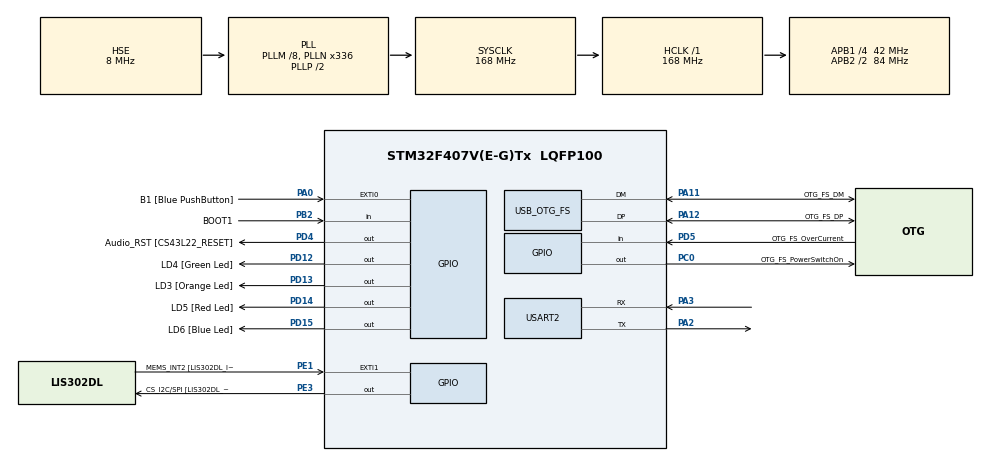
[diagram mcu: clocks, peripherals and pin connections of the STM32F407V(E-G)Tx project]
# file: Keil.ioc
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Mcu.Family=STM32F4
Mcu.Name=STM32F407V(E-G)Tx
Mcu.Package=LQFP100
NVIC.OTG_FS_IRQn=true\:0\:0\:false
NVIC.PriorityGroup=NVIC_PRIORITYGROUP_0
PA0-WKUP.GPIO_Label=B1 [Blue PushButton]
PA0-WKUP.GPIO_ModeDefaultEXTI=GPIO_MODE_EVT_RISING
PA0-WKUP.GPIO_PuPd=GPIO_NOPULL
PA0-WKUP.Signal=GPXTI0
PA10.GPIO_Label=OTG_FS_ID
PA10.GPIO_Mode=GPIO_MODE_AF_PP
PA10.GPIO_PuPd=GPIO_NOPULL
PA10.GPIO_Speed=GPIO_SPEED_LOW
PA10.Signal=USB_OTG_FS_ID
PA11.GPIO_Label=OTG_FS_DM
PA11.GPIO_Mode=GPIO_MODE_AF_PP
PA11.GPIO_PuPd=GPIO_NOPULL
PA11.GPIO_Speed=GPIO_SPEED_LOW
PA11.Mode=Device_Only
PA11.Signal=USB_OTG_FS_DM
PA12.GPIO_Label=OTG_FS_DP
PA12.GPIO_Mode=GPIO_MODE_AF_PP
PA12.GPIO_PuPd=GPIO_NOPULL
PA12.GPIO_Speed=GPIO_SPEED_LOW
PA12.Mode=Device_Only
PA12.Signal=USB_OTG_FS_DP
PA13.GPIO_Label=SWDIO
PA13.Mode=Trace-Asynchronous_SW
PA13.Signal=SYS_JTMS-SWDIO
PA14.GPIO_Label=SWCLK
PA14.Mode=Trace-Asynchronous_SW
PA14.Signal=SYS_JTCK-SWCLK
PA2.Mode=Asynchronous
PA2.Signal=USART2_TX
PA3.Mode=Asynchronous
PA3.Signal=USART2_RX
PA4.GPIO_Label=I2S3_WS [CS43L22_LRCK]
PA4.GPIO_Mode=GPIO_MODE_AF_PP
PA4.GPIO_PuPd=GPIO_NOPULL
PA4.GPIO_Speed=GPIO_SPEED_LOW
PA4.Signal=I2S3_WS
PA5.GPIO_Label=SPI1_SCK [LIS302DL_SCL/SPC]
PA5.GPIO_Mode=GPIO_MODE_AF_PP
PA5.GPIO_PuPd=GPIO_NOPULL
PA5.GPIO_Speed=GPIO_SPEED_LOW
PA5.Signal=SPI1_SCK
PA6.GPIO_Label=SPI1_MISO [LIS302DL_SDO]
PA6.GPIO_Mode=GPIO_MODE_AF_PP
PA6.GPIO_PuPd=GPIO_NOPULL
PA6.GPIO_Speed=GPIO_SPEED_LOW
PA6.Signal=SPI1_MISO
PA7.GPIO_Label=SPI1_MOSI [LIS302DL_SDA/SDI/SDO]
PA7.GPIO_Mode=GPIO_MODE_AF_PP
PA7.GPIO_PuPd=GPIO_NOPULL
PA7.GPIO_Speed=GPIO_SPEED_LOW
PA7.Signal=SPI1_MOSI
PA9.GPIO_Label=VBUS_FS
PA9.GPIO_Mode=GPIO_MODE_INPUT
PA9.GPIO_PuPd=GPIO_NOPULL
PA9.Signal=USB_OTG_FS_VBUS
PB10.GPIO_Label=CLK_IN [MP45DT02_CLK]
PB10.GPIO_Mode=GPIO_MODE_AF_PP
PB10.GPIO_PuPd=GPIO_NOPULL
PB10.GPIO_Speed=GPIO_SPEED_LOW
PB10.Signal=I2S2_CK
PB2.GPIO_Label=BOOT1
PB2.GPIO_Mode=GPIO_MODE_INPUT
PB2.GPIO_PuPd=GPIO_NOPULL
PB2.Signal=GPIO_Input
PB3.GPIO_Label=SWO
PB3.Mode=Trace-Asynchronous_SW
PB3.Signal=SYS_JTDO-SWO
PB6.GPIO_Label=Audio_SCL [CS43L22_SCL]
PB6.GPIO_Mode=GPIO_MODE_AF_OD
PB6.GPIO_PuPd=GPIO_NOPULL
PB6.GPIO_Speed=GPIO_SPEED_LOW
PB6.Signal=I2C1_SCL
PB9.GPIO_Label=Audio_SDA [CS43L22_SDA]
PB9.GPIO_Mode=GPIO_MODE_AF_OD
PB9.GPIO_PuPd=GPIO_NOPULL
PB9.GPIO_Speed=GPIO_SPEED_LOW
PB9.Signal=I2C1_SDA
PC0.GPIO_Label=OTG_FS_PowerSwitchOn
PC0.GPIO_PuPd=GPIO_NOPULL
PC0.GPIO_Speed=GPIO_SPEED_LOW
PC0.Signal=GPIO_Output
PC10.GPIO_Label=I2S3_SCK [CS43L22_SCLK]
PC10.GPIO_Mode=GPIO_MODE_AF_PP
PC10.GPIO_PuPd=GPIO_NOPULL
PC10.GPIO_Speed=GPIO_SPEED_LOW
PC10.Signal=I2S3_CK
PC12.GPIO_Label=I2S3_SD [CS43L22_SDIN]
PC12.GPIO_Mode=GPIO_MODE_AF_PP
PC12.GPIO_PuPd=GPIO_NOPULL
PC12.GPIO_Speed=GPIO_SPEED_LOW
PC12.Signal=I2S3_SD
PC14-OSC32_IN.GPIO_Label=PC14-OSC32_IN
PC14-OSC32_IN.Signal=RCC_OSC32_IN
PC15-OSC32_OUT.GPIO_Label=PC15-OSC32_OUT
PC15-OSC32_OUT.Signal=RCC_OSC32_OUT
PC3.GPIO_Label=PDM_OUT [MP45DT02_DOUT]
PC3.GPIO_Mode=GPIO_MODE_AF_PP
PC3.GPIO_PuPd=GPIO_NOPULL
PC3.GPIO_Speed=GPIO_SPEED_LOW
PC3.Signal=I2S2_SD
PC7.GPIO_Label=I2S3_MCK [CS43L22_MCLK]
PC7.GPIO_Mode=GPIO_MODE_AF_PP
PC7.GPIO_PuPd=GPIO_NOPULL
PC7.GPIO_Speed=GPIO_SPEED_LOW
PC7.Signal=I2S3_MCK
PD12.GPIO_Label=LD4 [Green Led]
PD12.GPIO_PuPd=GPIO_NOPULL
PD12.GPIO_Speed=GPIO_SPEED_LOW
PD12.Signal=GPIO_Output
PD13.GPIO_Label=LD3 [Orange Led]
PD13.GPIO_PuPd=GPIO_NOPULL
PD13.GPIO_Speed=GPIO_SPEED_LOW
PD13.Signal=GPIO_Output
PD14.GPIO_Label=LD5 [Red Led]
PD14.GPIO_PuPd=GPIO_NOPULL
PD14.GPIO_Speed=GPIO_SPEED_LOW
PD14.Signal=GPIO_Output
PD15.GPIO_Label=LD6 [Blue Led]
PD15.GPIO_PuPd=GPIO_NOPULL
PD15.GPIO_Speed=GPIO_SPEED_LOW
PD15.Signal=GPIO_Output
PD4.GPIO_Label=Audio_RST [CS43L22_RESET]
PD4.GPIO_PuPd=GPIO_NOPULL
PD4.GPIO_Speed=GPIO_SPEED_LOW
PD4.Signal=GPIO_Output
PD5.GPIO_Label=OTG_FS_OverCurrent
PD5.GPIO_Mode=GPIO_MODE_INPUT
PD5.GPIO_PuPd=GPIO_NOPULL
PD5.Signal=GPIO_Input
PE1.GPIO_Label=MEMS_INT2 [LIS302DL_INT2]
PE1.GPIO_ModeDefaultEXTI=GPIO_MODE_EVT_RISING
PE1.GPIO_PuPd=GPIO_NOPULL
PE1.Signal=GPXTI1
PE3.GPIO_Label=CS_I2C/SPI [LIS302DL_CS_I2C/SPI]
PE3.GPIO_PuPd=GPIO_NOPULL
PE3.GPIO_Speed=GPIO_SPEED_LOW
PE3.Signal=GPIO_Output
PH0-OSC_IN.GPIO_Label=PH0-OSC_IN
PH0-OSC_IN.Mode=HSE-External-Oscillator
PH0-OSC_IN.Signal=RCC_OSC_IN
PH1-OSC_OUT.GPIO_Label=PH1-OSC_OUT
PH1-OSC_OUT.Mode=HSE-External-Oscillator
PH1-OSC_OUT.Signal=RCC_OSC_OUT
ProjectManager.TargetToolchain=MDK-ARM V5
RCC.AHBFreq_Value=168000000
RCC.APB1CLKDivider=RCC_HCLK_DIV4
RCC.APB1Freq_Value=42000000
RCC.APB1TimFreq_Value=84000000
RCC.APB2CLKDivider=RCC_HCLK_DIV2
RCC.APB2Freq_Value=84000000
RCC.APB2TimFreq_Value=168000000
RCC.CortexFreq_Value=168000000
RCC.HCLKFreq_Value=168000000
RCC.HSE_VALUE=8000000
RCC.HSI_VALUE=16000000
RCC.LSE_VALUE=32768
RCC.PLLM=8
RCC.PLLN=336
RCC.PLLQ=7
RCC.SYSCLKFreq_VALUE=168000000
RCC.SYSCLKSource=RCC_SYSCLKSOURCE_PLLCLK
RCC.VCOOutputFreq_Value=336000000
USB_DEVICE.CLASS_NAME-HID_FS=HID
USB_DEVICE.PID_HID_FS=0x0401
USB_DEVICE.PRODUCT_STRING_HID_FS=STM32 Keyboard
USB_DEVICE.SERIALNUMBER_STRING_HID_FS=0000000000DA
USB_DEVICE.USBD_HandleTypeDef-HID_FS=hUsbDeviceFS
USB_DEVICE.VID-HID_FS=0x2047
USB_DEVICE.VirtualMode-HID_FS=Hid
USB_DEVICE.VirtualModeFS=Hid_FS
USB_OTG_FS.VirtualMode=Device_Only
VP_USB_DEVICE_VS_USB_DEVICE_HID_FS.Mode=HID_FS
board=STM32F4DISCOVERY

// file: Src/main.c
/**
  ******************************************************************************
  * File Name          : main.c
  * Description        : Main program body
  ******************************************************************************
  *
  * COPYRIGHT(c) 2015 STMicroelectronics
  *
  * Redistribution and use in source and binary forms, with or without modification,
  * are permitted provided that the following conditions are met:
  *   1. Redistributions of source code must retain the above copyright notice,
  *      this list of conditions and the following disclaimer.
  *   2. Redistributions in binary form must reproduce the above copyright notice,
  *      this list of conditions and the following disclaimer in the documentation
  *      and/or other materials provided with the distribution.
  *   3. Neither the name of STMicroelectronics nor the names of its contributors
  *      may be used to endorse or promote products derived from this software
  *      without specific prior written permission.
  *
  * THIS SOFTWARE IS PROVIDED BY THE COPYRIGHT HOLDERS AND CONTRIBUTORS "AS IS"
  * AND ANY EXPRESS OR IMPLIED WARRANTIES, INCLUDING, BUT NOT LIMITED TO, THE
  * IMPLIED WARRANTIES OF MERCHANTABILITY AND FITNESS FOR A PARTICULAR PURPOSE ARE
  * DISCLAIMED. IN NO EVENT SHALL THE COPYRIGHT HOLDER OR CONTRIBUTORS BE LIABLE
  * FOR ANY DIRECT, INDIRECT, INCIDENTAL, SPECIAL, EXEMPLARY, OR CONSEQUENTIAL
  * DAMAGES (INCLUDING, BUT NOT LIMITED TO, PROCUREMENT OF SUBSTITUTE GOODS OR
  * SERVICES; LOSS OF USE, DATA, OR PROFITS; OR BUSINESS INTERRUPTION) HOWEVER
  * CAUSED AND ON ANY THEORY OF LIABILITY, WHETHER IN CONTRACT, STRICT LIABILITY,
  * OR TORT (INCLUDING NEGLIGENCE OR OTHERWISE) ARISING IN ANY WAY OUT OF THE USE
  * OF THIS SOFTWARE, EVEN IF ADVISED OF THE POSSIBILITY OF SUCH DAMAGE.
  *
  ******************************************************************************
  */
#include "stm32f4xx_hal.h"
#include "usb_device.h"

/* USER CODE BEGIN Includes */
#include "stm32f4_discovery.h"
#include "tm_stm32f4_usb_hid_device.h"
/* USER CODE END Includes */

UART_HandleTypeDef huart2;

/* USER CODE BEGIN PV */
/* Private variables ---------------------------------------------------------*/

/* USER CODE END PV */

void SystemClock_Config(void);
static void MX_GPIO_Init(void);
static void MX_USART2_UART_Init(void);

/* USER CODE BEGIN PFP */
/* Private function prototypes -----------------------------------------------*/

/* USER CODE END PFP */

/* USER CODE BEGIN 0 */

#define KEY_PRESSED 		0x01
#define KEY_NOT_PRESSED 0x00

void waitForUserButtonPressed()
{
		uint32_t const delay = 100;
	  /* Waiting USER Button is Pressed */
    while (BSP_PB_GetState(BUTTON_KEY) == KEY_NOT_PRESSED) {
			BSP_LED_On(LED_GREEN);
			HAL_Delay(delay);
			BSP_LED_Off(LED_GREEN);

			BSP_LED_On(LED_ORANGE);
			HAL_Delay(delay);
			BSP_LED_Off(LED_ORANGE);

			BSP_LED_On(LED_RED);
			HAL_Delay(delay);
			BSP_LED_Off(LED_RED);

			BSP_LED_On(LED_BLUE);
			HAL_Delay(delay);
			BSP_LED_Off(LED_BLUE);
		}
}

void waitForUserButtonReleased()
{
	BSP_LED_Off(LED_GREEN);
	BSP_LED_Off(LED_ORANGE);
  BSP_LED_Off(LED_RED);
	while (BSP_PB_GetState(BUTTON_KEY) == KEY_PRESSED) {
		BSP_LED_Toggle(LED_BLUE);
		HAL_Delay(25);
	}
	BSP_LED_Off(LED_BLUE);
}

void fail(uint32_t loopCount)
{
	BSP_LED_Off(LED_RED);
	while (loopCount --> 0) {
		BSP_LED_Toggle(LED_RED);
		HAL_Delay(500);
	}
	BSP_LED_On(LED_RED);
  HAL_Delay(1000);
	waitForUserButtonPressed();
	waitForUserButtonReleased();
	BSP_LED_Off(LED_RED);
}

uint8_t sendKeyboardChar(uint8_t aChar, uint32_t timeout)
{
	uint8_t key_code = 0xFF;
	if (aChar >='1' && aChar <='9') {
		key_code = aChar - 19;
	} else if (aChar == '0') {
		key_code = 0x27;
	} else if (aChar == '\n' || aChar == '\r') {
		// Enter
		key_code = 0x28;
	}
	if (key_code == 0xFF) {
		fail(8);
		return key_code;
	}
	TM_USB_HIDDEVICE_Keyboard_t Keyboard;
	/* Set default values for keyboard struct */
	TM_USB_HIDDEVICE_KeyboardStructInit(&Keyboard);
	Keyboard.Key1 = key_code;
	TM_USB_HIDDEVICE_KeyboardSend(&Keyboard);
	BSP_LED_On(LED_ORANGE);
	HAL_Delay(timeout);
	/* Release all buttons */
	TM_USB_HIDDEVICE_KeyboardReleaseAll();
	BSP_LED_Off(LED_ORANGE);
	return aChar;
}
typedef struct
{
	uint8_t FirstByte;
	uint8_t Char;
	uint8_t ThirdByte;
	uint8_t ForthByte;
} TRX_DATA;
/* USER CODE END 0 */

int main(void)
{
  /* MCU Configuration----------------------------------------------------------*/

  /* Reset of all peripherals, Initializes the Flash interface and the Systick. */
  HAL_Init();

  /* Configure the system clock */
  SystemClock_Config();

  /* Initialize all configured peripherals */
  MX_GPIO_Init();
  MX_USART2_UART_Init();
  MX_USB_DEVICE_Init();

  /* USER CODE BEGIN */
	TRX_DATA aRxBuffer;
	BSP_LED_Init(LED_GREEN);
  BSP_LED_Init(LED_ORANGE);
  BSP_LED_Init(LED_RED);
  BSP_LED_Init(LED_BLUE);

  /* Infinite loop */
  while (1) {

		while (1) {
			BSP_LED_On(LED_GREEN);
			if (HAL_UART_Receive(&huart2, (uint8_t *)&aRxBuffer, sizeof(aRxBuffer), HAL_MAX_DELAY) != HAL_OK) {
				fail(1);
				break;
			}
			BSP_LED_Off(LED_GREEN);
			if (aRxBuffer.FirstByte != '0' ||
				  aRxBuffer.ThirdByte != '0' ||
					aRxBuffer.ForthByte != '0') {
				fail(3);
				break;
			}
			BSP_LED_On(LED_ORANGE);

			/* Send keyboard report */
			uint8_t sended = sendKeyboardChar(aRxBuffer.Char, 150);

			if (HAL_UART_Transmit(&huart2, &sended, sizeof(sended), 1000) != HAL_OK) {
				fail(5);
				break;
			}
			BSP_LED_Off(LED_ORANGE);
		}
	}
}

/** System Clock Configuration
*/
void SystemClock_Config(void)
{

  RCC_OscInitTypeDef RCC_OscInitStruct;
  RCC_ClkInitTypeDef RCC_ClkInitStruct;

  __PWR_CLK_ENABLE();

  __HAL_PWR_VOLTAGESCALING_CONFIG(PWR_REGULATOR_VOLTAGE_SCALE1);

  RCC_OscInitStruct.OscillatorType = RCC_OSCILLATORTYPE_HSE;
  RCC_OscInitStruct.HSEState = RCC_HSE_ON;
  RCC_OscInitStruct.PLL.PLLState = RCC_PLL_ON;
  RCC_OscInitStruct.PLL.PLLSource = RCC_PLLSOURCE_HSE;
  RCC_OscInitStruct.PLL.PLLM = 8;
  RCC_OscInitStruct.PLL.PLLN = 336;
  RCC_OscInitStruct.PLL.PLLP = RCC_PLLP_DIV2;
  RCC_OscInitStruct.PLL.PLLQ = 7;
  HAL_RCC_OscConfig(&RCC_OscInitStruct);

  RCC_ClkInitStruct.ClockType = RCC_CLOCKTYPE_SYSCLK|RCC_CLOCKTYPE_PCLK1
                              |RCC_CLOCKTYPE_PCLK2;
  RCC_ClkInitStruct.SYSCLKSource = RCC_SYSCLKSOURCE_PLLCLK;
  RCC_ClkInitStruct.AHBCLKDivider = RCC_SYSCLK_DIV1;
  RCC_ClkInitStruct.APB1CLKDivider = RCC_HCLK_DIV4;
  RCC_ClkInitStruct.APB2CLKDivider = RCC_HCLK_DIV2;
  HAL_RCC_ClockConfig(&RCC_ClkInitStruct, FLASH_LATENCY_5);

  HAL_SYSTICK_Config(HAL_RCC_GetHCLKFreq()/1000);

  HAL_SYSTICK_CLKSourceConfig(SYSTICK_CLKSOURCE_HCLK);

  /* SysTick_IRQn interrupt configuration */
  HAL_NVIC_SetPriority(SysTick_IRQn, 0, 0);
}

/* USART2 init function */
void MX_USART2_UART_Init(void)
{

  huart2.Instance = USART2;
  huart2.Init.BaudRate = 115200;
  huart2.Init.WordLength = UART_WORDLENGTH_8B;
  huart2.Init.StopBits = UART_STOPBITS_1;
  huart2.Init.Parity = UART_PARITY_NONE;
  huart2.Init.Mode = UART_MODE_TX_RX;
  huart2.Init.HwFlowCtl = UART_HWCONTROL_NONE;
  huart2.Init.OverSampling = UART_OVERSAMPLING_16;
  HAL_UART_Init(&huart2);

}

/** Configure pins as
        * Analog
        * Input
        * Output
        * EVENT_OUT
        * EXTI
     PC3   ------> I2S2_SD
     PA4   ------> I2S3_WS
     PA5   ------> SPI1_SCK
     PA6   ------> SPI1_MISO
     PA7   ------> SPI1_MOSI
     PB10   ------> I2S2_CK
     PC7   ------> I2S3_MCK
     PC10   ------> I2S3_CK
     PC12   ------> I2S3_SD
     PB6   ------> I2C1_SCL
     PB9   ------> I2C1_SDA
*/
void MX_GPIO_Init(void)
{

  GPIO_InitTypeDef GPIO_InitStruct;

  /* GPIO Ports Clock Enable */
  __GPIOE_CLK_ENABLE();
  __GPIOC_CLK_ENABLE();
  __GPIOH_CLK_ENABLE();
  __GPIOA_CLK_ENABLE();
  __GPIOB_CLK_ENABLE();
  __GPIOD_CLK_ENABLE();

  /*Configure GPIO pin : CS_I2C_SPI_Pin */
  GPIO_InitStruct.Pin = CS_I2C_SPI_Pin;
  GPIO_InitStruct.Mode = GPIO_MODE_OUTPUT_PP;
  GPIO_InitStruct.Pull = GPIO_NOPULL;
  GPIO_InitStruct.Speed = GPIO_SPEED_LOW;
  HAL_GPIO_Init(CS_I2C_SPI_GPIO_Port, &GPIO_InitStruct);

  /*Configure GPIO pin : OTG_FS_PowerSwitchOn_Pin */
  GPIO_InitStruct.Pin = OTG_FS_PowerSwitchOn_Pin;
  GPIO_InitStruct.Mode = GPIO_MODE_OUTPUT_PP;
  GPIO_InitStruct.Pull = GPIO_NOPULL;
  GPIO_InitStruct.Speed = GPIO_SPEED_LOW;
  HAL_GPIO_Init(OTG_FS_PowerSwitchOn_GPIO_Port, &GPIO_InitStruct);

  /*Configure GPIO pin : PDM_OUT_Pin */
  GPIO_InitStruct.Pin = PDM_OUT_Pin;
  GPIO_InitStruct.Mode = GPIO_MODE_AF_PP;
  GPIO_InitStruct.Pull = GPIO_NOPULL;
  GPIO_InitStruct.Speed = GPIO_SPEED_LOW;
  GPIO_InitStruct.Alternate = GPIO_AF5_SPI2;
  HAL_GPIO_Init(PDM_OUT_GPIO_Port, &GPIO_InitStruct);

  /*Configure GPIO pin : B1_Pin */
  GPIO_InitStruct.Pin = B1_Pin;
  GPIO_InitStruct.Mode = GPIO_MODE_EVT_RISING;
  GPIO_InitStruct.Pull = GPIO_NOPULL;
  HAL_GPIO_Init(B1_GPIO_Port, &GPIO_InitStruct);

  /*Configure GPIO pin : PA4 */
  GPIO_InitStruct.Pin = GPIO_PIN_4;
  GPIO_InitStruct.Mode = GPIO_MODE_AF_PP;
  GPIO_InitStruct.Pull = GPIO_NOPULL;
  GPIO_InitStruct.Speed = GPIO_SPEED_LOW;
  GPIO_InitStruct.Alternate = GPIO_AF6_SPI3;
  HAL_GPIO_Init(GPIOA, &GPIO_InitStruct);

  /*Configure GPIO pins : PA5 PA6 PA7 */
  GPIO_InitStruct.Pin = GPIO_PIN_5|GPIO_PIN_6|GPIO_PIN_7;
  GPIO_InitStruct.Mode = GPIO_MODE_AF_PP;
  GPIO_InitStruct.Pull = GPIO_NOPULL;
  GPIO_InitStruct.Speed = GPIO_SPEED_LOW;
  GPIO_InitStruct.Alternate = GPIO_AF5_SPI1;
  HAL_GPIO_Init(GPIOA, &GPIO_InitStruct);

  /*Configure GPIO pin : BOOT1_Pin */
  GPIO_InitStruct.Pin = BOOT1_Pin;
  GPIO_InitStruct.Mode = GPIO_MODE_INPUT;
  GPIO_InitStruct.Pull = GPIO_NOPULL;
  HAL_GPIO_Init(BOOT1_GPIO_Port, &GPIO_InitStruct);

  /*Configure GPIO pin : CLK_IN_Pin */
  GPIO_InitStruct.Pin = CLK_IN_Pin;
  GPIO_InitStruct.Mode = GPIO_MODE_AF_PP;
  GPIO_InitStruct.Pull = GPIO_NOPULL;
  GPIO_InitStruct.Speed = GPIO_SPEED_LOW;
  GPIO_InitStruct.Alternate = GPIO_AF5_SPI2;
  HAL_GPIO_Init(CLK_IN_GPIO_Port, &GPIO_InitStruct);

  /*Configure GPIO pins : LD4_Pin LD3_Pin LD5_Pin LD6_Pin
                           Audio_RST_Pin */
  GPIO_InitStruct.Pin = LD4_Pin|LD3_Pin|LD5_Pin|LD6_Pin
                          |Audio_RST_Pin;
  GPIO_InitStruct.Mode = GPIO_MODE_OUTPUT_PP;
  GPIO_InitStruct.Pull = GPIO_NOPULL;
  GPIO_InitStruct.Speed = GPIO_SPEED_LOW;
  HAL_GPIO_Init(GPIOD, &GPIO_InitStruct);

  /*Configure GPIO pins : PC7 I2S3_SCK_Pin PC12 */
  GPIO_InitStruct.Pin = GPIO_PIN_7|I2S3_SCK_Pin|GPIO_PIN_12;
  GPIO_InitStruct.Mode = GPIO_MODE_AF_PP;
  GPIO_InitStruct.Pull = GPIO_NOPULL;
  GPIO_InitStruct.Speed = GPIO_SPEED_LOW;
  GPIO_InitStruct.Alternate = GPIO_AF6_SPI3;
  HAL_GPIO_Init(GPIOC, &GPIO_InitStruct);

  /*Configure GPIO pin : OTG_FS_OverCurrent_Pin */
  GPIO_InitStruct.Pin = OTG_FS_OverCurrent_Pin;
  GPIO_InitStruct.Mode = GPIO_MODE_INPUT;
  GPIO_InitStruct.Pull = GPIO_NOPULL;
  HAL_GPIO_Init(OTG_FS_OverCurrent_GPIO_Port, &GPIO_InitStruct);

  /*Configure GPIO pins : Audio_SCL_Pin Audio_SDA_Pin */
  GPIO_InitStruct.Pin = Audio_SCL_Pin|Audio_SDA_Pin;
  GPIO_InitStruct.Mode = GPIO_MODE_AF_OD;
  GPIO_InitStruct.Pull = GPIO_PULLUP;
  GPIO_InitStruct.Speed = GPIO_SPEED_LOW;
  GPIO_InitStruct.Alternate = GPIO_AF4_I2C1;
  HAL_GPIO_Init(GPIOB, &GPIO_InitStruct);

  /*Configure GPIO pin : MEMS_INT2_Pin */
  GPIO_InitStruct.Pin = MEMS_INT2_Pin;
  GPIO_InitStruct.Mode = GPIO_MODE_EVT_RISING;
  GPIO_InitStruct.Pull = GPIO_NOPULL;
  HAL_GPIO_Init(MEMS_INT2_GPIO_Port, &GPIO_InitStruct);

}

/************************ (C) COPYRIGHT STMicroelectronics *****END OF FILE****/
